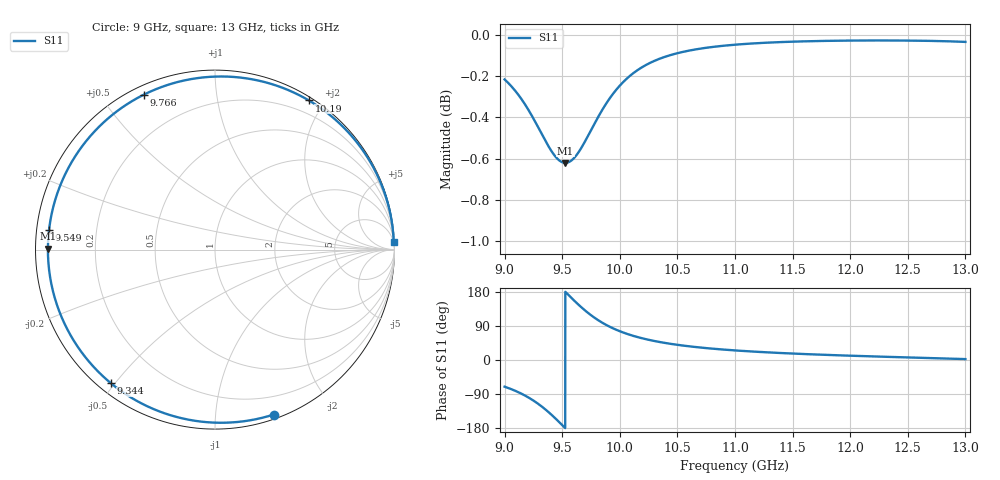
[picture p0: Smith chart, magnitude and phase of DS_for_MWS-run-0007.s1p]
! TOUCHSTONE file generated by CST DESIGN STUDIO
! Date and time: Tue Feb  4 16:21:50 2025
! Project name: C:\Work\MatlabApps\UnitCellOptimizationMatlab\CST\unitcell.cst
! Tree item: Tasks\Sweep1\SPara1\S-Parameters
! Header version: 2024
! Port assignment regex: !\s*Touchstone port\s*([0-9]+)\s*=\s*(CST MWS port|CST DES external port|CST DES block port)\s*(.+)\s* \(\"(.*)\"\)(\s*mode\s*([0-9]+))?.*
! Touchstone port assignment:
! Touchstone port 1 = CST DES external port 1 ("")
# GHz S MA R 50
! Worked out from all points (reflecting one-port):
!   4001 points, 9 GHz to 13 GHz, reference 50 ohm
!   lowest |S11| = -0.6 dB at 9.528 GHz (marker M1), VSWR 27.97, Z = 1.79 + j0.137 ohm
!   phase of S11 starts at -70 deg and turns -287 deg over the sweep
!   S11 on the Smith chart (normalised r, x): 9 GHz: 0.04, -1.42; 9.344 GHz: 0.04, -0.49; 9.549 GHz: 0.04, +0.06; 9.766 GHz: 0.04, +0.64; 10.19 GHz: 0.04, +1.81; 13 GHz: 4, +47
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9  0.9755 -70.4
9.096  0.969 -81.8
9.202  0.9595 -98.0
9.277  0.9513 -112.6
9.344  0.9437 -127.9
9.387  0.939 -139.0
9.431  0.935 -151.3
9.5  0.9313 -171.8
9.528  0.931 179.7
9.549  0.9312 173.3
9.603  0.9335 157.0
9.663  0.9385 140.0
9.714  0.944 126.8
9.766  0.95 114.7
9.815  0.9555 104.5
9.868  0.9611 94.9
9.934  0.9671 84.6
10  0.9721 75.9
10.09  0.9775 66.2
10.188  0.982 57.8
10.331  0.9865 48.3
10.5  0.9899 40.0
10.721  0.9926 32.2
11  0.9946 25.3
11.5  0.9963 17.0
12  0.9969 11.3
12.5  0.9969 6.8
13  0.9962 2.4
